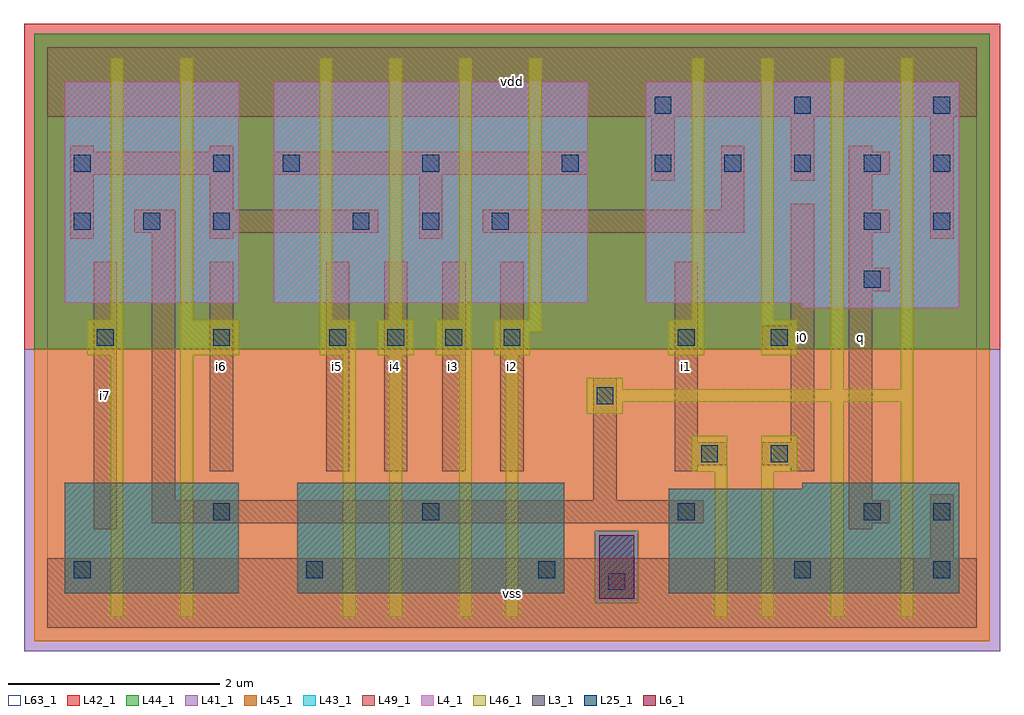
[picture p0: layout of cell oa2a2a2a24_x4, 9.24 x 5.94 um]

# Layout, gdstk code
import gdstk
lib = gdstk.Library(unit=1e-6, precision=1e-09)
def R(c, l, rs):  # rectangles x0, y0, x1, y1
    for r in rs: c.add(gdstk.rectangle(r[:2], r[2:], *l))
def A(c, l, x, y, w, h, nx, ny, dx, dy):  # array of equal rectangles
    R(c, l, [(x+i*dx, y+j*dy, x+i*dx+w, y+j*dy+h) for i in range(nx) for j in range(ny)])
L3_1 = (3, 1)
L4_1 = (4, 1)
L6_1 = (6, 1)
L25_1 = (25, 1)
L41_1 = (41, 1)
L42_1 = (42, 1)
L43_1 = (43, 1)
L44_1 = (44, 1)
L45_1 = (45, 1)
L46_1 = (46, 1)
L49_1 = (49, 1)
L63_1 = (63, 1)

oa2a2a2a24_x4 = lib.new_cell('oa2a2a2a24_x4')
R(oa2a2a2a24_x4, L3_1, [(0.165,0.33,1.815,1.375), (2.365,0.33,4.895,1.375), (5.885,0.33,8.635,1.32), (7.15,1.32,8.635,1.375)])
R(oa2a2a2a24_x4, L4_1, [(7.15,3.025,8.635,3.08), (0.165,3.08,1.815,5.17), (2.145,3.08,5.115,5.17), (5.665,3.08,8.635,5.17)])
R(oa2a2a2a24_x4, L6_1, [(5.225,0.275,5.555,0.88)])
A(oa2a2a2a24_x4, L25_1, 0.25, 0.47, 0.16, 0.16, 3, 1, 2.2, 0)
A(oa2a2a2a24_x4, L25_1, 0.47, 2.67, 0.16, 0.16, 3, 1, 1.1, 0)
A(oa2a2a2a24_x4, L25_1, 3.22, 2.67, 0.16, 0.16, 3, 1, 0.55, 0)
A(oa2a2a2a24_x4, L25_1, 0.25, 3.77, 0.16, 0.16, 3, 1, 0.66, 0)
A(oa2a2a2a24_x4, L25_1, 2.89, 3.77, 0.16, 0.16, 3, 1, 0.66, 0)
A(oa2a2a2a24_x4, L25_1, 2.23, 4.32, 0.16, 0.16, 3, 1, 1.32, 0)
A(oa2a2a2a24_x4, L25_1, 5.75, 4.32, 0.16, 0.16, 5, 1, 0.66, 0)
A(oa2a2a2a24_x4, L25_1, 5.75, 4.87, 0.16, 0.16, 3, 1, 1.32, 0)
R(oa2a2a2a24_x4, L25_1, [(5.31,0.36,5.47,0.52), (7.07,0.47,7.23,0.63), (8.39,0.47,8.55,0.63), (1.57,1.02,1.73,1.18), (3.55,1.02,3.71,1.18), (5.97,1.02,6.13,1.18), (7.73,1.02,7.89,1.18), (8.39,1.02,8.55,1.18), (6.19,1.57,6.35,1.73), (6.85,1.57,7.01,1.73), (5.2,2.12,5.36,2.28), (5.97,2.67,6.13,2.83), (6.85,2.67,7.01,2.83), (7.73,3.22,7.89,3.38), (7.73,3.77,7.89,3.93), (8.39,3.77,8.55,3.93), (0.25,4.32,0.41,4.48), (1.57,4.32,1.73,4.48)])
R(oa2a2a2a24_x4, L41_1, [(-0.22,-0.22,9.02,2.64)])
R(oa2a2a2a24_x4, L42_1, [(-0.22,2.64,9.02,5.72)])
R(oa2a2a2a24_x4, L43_1, [(5.225,0.275,5.555,0.88), (0.165,0.33,1.815,1.375), (2.365,0.33,4.895,1.375), (5.885,0.33,8.635,1.32), (7.15,1.32,8.635,1.375), (7.15,3.025,8.635,3.08), (0.165,3.08,1.815,5.17), (2.145,3.08,5.115,5.17), (5.665,3.08,8.635,5.17)])
R(oa2a2a2a24_x4, L44_1, [(5.185,0.235,5.595,0.92), (-0.125,2.64,8.925,5.625)])
R(oa2a2a2a24_x4, L45_1, [(-0.125,-0.125,8.925,0.235), (-0.125,0.235,5.185,0.92), (5.595,0.235,8.925,0.92), (-0.125,0.92,8.925,2.64)])
A(oa2a2a2a24_x4, L46_1, 2.58, 2.58, 0.34, 0.34, 3, 1, 0.55, 0)
A(oa2a2a2a24_x4, L46_1, 2.58, 2.92, 0.12, 2.475, 4, 1, 0.66, 0)
R(oa2a2a2a24_x4, L46_1, [(0.6,0.105,0.72,2.58), (1.26,0.105,1.38,2.58), (2.8,0.105,2.92,2.58), (3.24,0.105,3.36,2.58), (3.9,0.105,4.02,2.58), (4.34,0.105,4.46,2.58), (6.32,0.105,6.44,1.48), (6.76,0.105,6.88,1.48), (7.42,0.105,7.54,2.14), (8.08,0.105,8.2,2.14), (6.1,1.48,6.44,1.82), (6.76,1.48,7.1,1.82), (5.11,2.03,5.45,2.14), (5.11,2.14,8.2,2.26), (5.11,2.26,5.45,2.37), (7.42,2.26,7.54,5.395), (8.08,2.26,8.2,5.395), (0.38,2.58,0.72,2.92), (1.26,2.58,1.82,2.92), (4.23,2.58,4.57,2.8), (5.88,2.58,6.22,2.92), (6.76,2.58,7.1,2.92), (4.23,2.8,4.68,2.92), (0.6,2.92,0.72,5.395), (1.26,2.92,1.38,5.395), (6.1,2.92,6.22,5.395), (6.76,2.92,6.88,5.395)])
A(oa2a2a2a24_x4, L49_1, 2.64, 1.485, 0.22, 1.98, 4, 1, 0.55, 0)
A(oa2a2a2a24_x4, L49_1, 7.59, 3.19, 0.385, 0.22, 1, 3, 0, 0.55)
R(oa2a2a2a24_x4, L49_1, [(0,0,8.8,0.66), (8.36,0.66,8.58,1.265), (0.44,0.935,0.66,3.465), (7.59,0.935,7.81,0.99), (0.99,0.99,6.215,1.21), (7.59,0.99,7.975,1.21), (0.99,1.21,1.21,3.74), (5.17,1.21,5.39,2.365), (7.59,1.21,7.81,3.19), (1.54,1.485,1.76,3.465), (5.94,1.485,6.16,1.54), (7.04,1.485,7.26,1.54), (5.94,1.54,6.435,1.76), (6.765,1.54,7.26,1.76), (5.94,1.76,6.16,3.465), (7.04,1.76,7.26,2.64), (6.765,2.64,7.26,2.86), (7.04,2.86,7.26,4.015), (7.59,3.41,7.81,3.74), (0.22,3.685,0.44,4.29), (1.54,3.685,1.76,3.74), (3.52,3.685,3.74,4.29), (8.36,3.685,8.58,4.84), (0.825,3.74,1.21,3.96), (1.54,3.74,3.135,3.96), (4.125,3.74,6.6,3.96), (1.54,3.96,1.76,4.29), (6.38,3.96,6.6,4.565), (7.59,3.96,7.81,4.29), (5.72,4.235,5.94,4.84), (7.04,4.235,7.26,4.84), (0.22,4.29,1.76,4.51), (2.145,4.29,5.115,4.51), (0.22,4.51,0.44,4.565), (1.54,4.51,1.76,4.565), (7.59,4.51,7.81,4.565), (0,4.84,8.8,5.5)])
R(oa2a2a2a24_x4, L63_1, [(0,0,8.8,5.5)])
oa2a2a2a24_x4.add(gdstk.Label('i7', (0.55,2.2), layer=49, texttype=1))
oa2a2a2a24_x4.add(gdstk.Label('i6', (1.65,2.475), layer=49, texttype=1))
oa2a2a2a24_x4.add(gdstk.Label('i5', (2.75,2.475), layer=49, texttype=1))
oa2a2a2a24_x4.add(gdstk.Label('i4', (3.3,2.475), layer=49, texttype=1))
oa2a2a2a24_x4.add(gdstk.Label('vss', (4.4,0.33), layer=49, texttype=1))
oa2a2a2a24_x4.add(gdstk.Label('i3', (3.85,2.475), layer=49, texttype=1))
oa2a2a2a24_x4.add(gdstk.Label('i2', (4.4,2.475), layer=49, texttype=1))
oa2a2a2a24_x4.add(gdstk.Label('vdd', (4.4,5.17), layer=49, texttype=1))
oa2a2a2a24_x4.add(gdstk.Label('i1', (6.05,2.475), layer=49, texttype=1))
oa2a2a2a24_x4.add(gdstk.Label('i0', (7.15,2.75), layer=49, texttype=1))
oa2a2a2a24_x4.add(gdstk.Label('q', (7.7,2.75), layer=49, texttype=1))

lib.write_gds('oa2a2a2a24_x4.gds')
